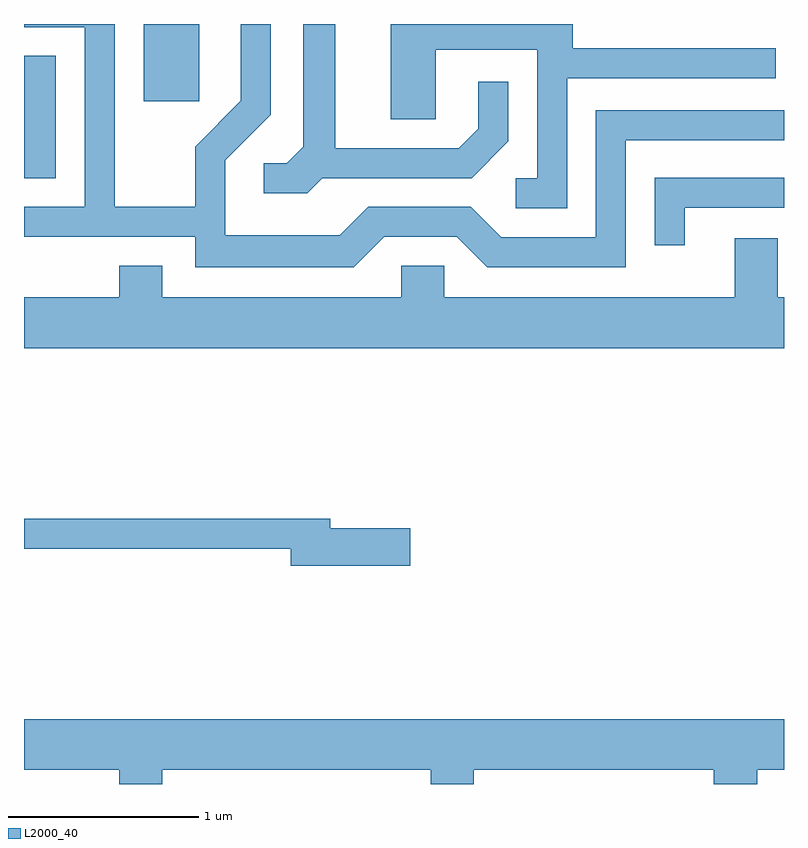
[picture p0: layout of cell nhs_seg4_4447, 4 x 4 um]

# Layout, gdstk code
import gdstk
lib = gdstk.Library(unit=1e-6, precision=1e-09)
def R(c, l, rs):  # rectangles x0, y0, x1, y1
    for r in rs: c.add(gdstk.rectangle(r[:2], r[2:], *l))
def P(c, l, *ps):  # polygons
    for p in ps: c.add(gdstk.Polygon(p, *l))
L2000_40 = (2000, 40)

nhs_seg4_4447 = lib.new_cell('nhs_seg4_4447')
R(nhs_seg4_4447, L2000_40, [(315.611,1311.171,315.779,1311.814), (316.241,1311.576,316.534,1311.982)])
P(nhs_seg4_4447, L2000_40, [(317.182,1311.171),(317.967,1311.171),(318.159,1311.364),(318.159,1311.678),(318.001,1311.678),(318.001,1311.432),(317.899,1311.329),(317.249,1311.329),(317.249,1311.982),(317.081,1311.982),(317.081,1311.337),(316.994,1311.249),(316.873,1311.249),(316.873,1311.091),(317.102,1311.091)],
  [(318.469,1311.696),(319.568,1311.696),(319.568,1311.854),(318.499,1311.854),(318.499,1311.982),(317.541,1311.982),(317.541,1311.481),(317.779,1311.481),(317.779,1311.846),(318.311,1311.846),(318.311,1311.169),(318.198,1311.169),(318.198,1311.011),(318.469,1311.011)],
  [(317.507,1310.861),(317.889,1310.861),(318.049,1310.701),(318.779,1310.701),(318.779,1311.371),(319.611,1311.371),(319.611,1311.529),(318.621,1311.529),(318.621,1310.859),(318.122,1310.859),(317.962,1311.019),(317.424,1311.019),(317.274,1310.869),(316.669,1310.869),(316.669,1311.264),(316.909,1311.504),(316.909,1311.982),(316.751,1311.982),(316.751,1311.577),(316.511,1311.337),(316.511,1311.019),(316.089,1311.019),(316.089,1311.982),(315.611,1311.982),(315.611,1311.966),(315.931,1311.966),(315.931,1311.019),(315.611,1311.019),(315.611,1310.861),(316.511,1310.861),(316.511,1310.701),(317.347,1310.701)],
  [(319.089,1311.016),(319.611,1311.016),(319.611,1311.174),(318.931,1311.174),(318.931,1310.818),(319.089,1310.818)],
  [(316.111,1310.709),(316.111,1310.544),(315.611,1310.544),(315.611,1310.276),(319.611,1310.276),(319.611,1310.544),(319.579,1310.544),(319.579,1310.854),(319.351,1310.854),(319.351,1310.544),(317.824,1310.544),(317.824,1310.709),(317.596,1310.709),(317.596,1310.544),(316.339,1310.544),(316.339,1310.709)],
  [(317.644,1309.329),(317.224,1309.329),(317.224,1309.379),(315.611,1309.379),(315.611,1309.221),(317.016,1309.221),(317.016,1309.131),(317.644,1309.131)],
  [(316.339,1308.056),(317.751,1308.056),(317.751,1307.982),(317.979,1307.982),(317.979,1308.056),(319.241,1308.056),(319.241,1307.982),(319.469,1307.982),(319.469,1308.056),(319.611,1308.056),(319.611,1308.324),(315.611,1308.324),(315.611,1308.056),(316.111,1308.056),(316.111,1307.982),(316.339,1307.982)])

lib.write_gds('nhs_seg4_4447.gds')
